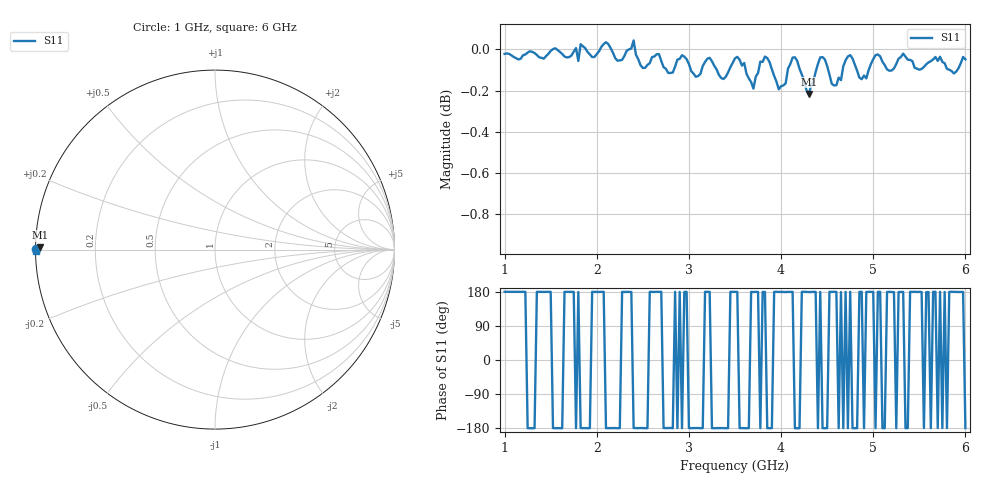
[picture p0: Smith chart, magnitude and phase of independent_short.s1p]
! SOL-corrected complex mean; no background subtraction; no window
# Hz S RI R 50
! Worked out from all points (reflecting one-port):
!   201 points, 1 GHz to 6 GHz, reference 50 ohm
!   lowest |S11| = -0.2 dB at 4.3 GHz (marker M1), VSWR 80.21, Z = 0.623 + j0.305 ohm
!   phase of S11 starts at 180 deg and turns +0 deg over the sweep
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1e9  -0.9975 0.00126
1.625e9  -0.9975 -0.000562
2.25e9  -0.9939 -0.00165
2.35e9  -1 0.00776
2.4e9  -1.005 -0.00831
2.475e9  -0.9912 -0.00799
2.625e9  -0.996 0.00857
2.875e9  -0.9944 -0.00569
3.5e9  -0.9951 0.000968
3.7e9  -0.9783 0.0107
3.85e9  -0.9952 -0.0016
3.975e9  -0.9779 0.00732
4.125e9  -0.9955 0.00116
4.3e9  -0.9753 0.0119
4.425e9  -0.9955 0.00704
4.575e9  -0.98 0.00178
4.75e9  -0.9968 0.000596
5.125e9  -0.9913 -0.00226
5.225e9  -0.9893 0.0158
5.25e9  -0.9919 -7.91e-05
5.275e9  -0.9948 0.0132
5.375e9  -0.9943 -0.00411
5.525e9  -0.9891 0.0108
5.55e9  -0.9903 -0.00507
5.575e9  -0.9916 0.0167
5.7e9  -0.9936 -0.00521
5.925e9  -0.9895 0.00965
6e9  -0.9945 -0.00517
